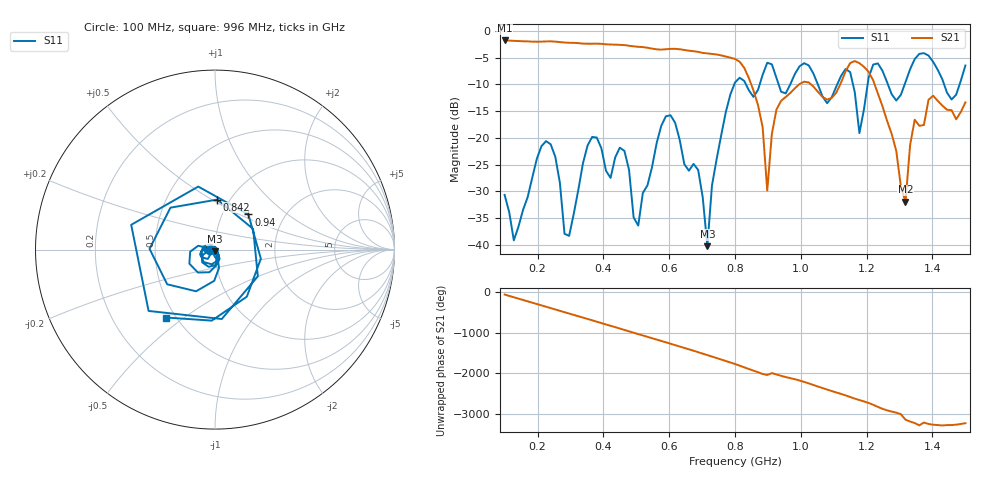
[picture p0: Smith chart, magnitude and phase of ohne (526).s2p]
! NanoVNA-App
! Date: 2025-09-25 14:24:53
! Start: 100MHz Stop: 1,5GHz Points: 101
! S-Parameter data: F S11 S21 S12 S22
# Hz S RI R 50
!  Frequency  S11_Real  S11_Imag  S21_Real  S21_Imag  S12_Real  S12_Imag  S22_Real  S22_Imag
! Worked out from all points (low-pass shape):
!   101 points, 100 MHz to 1.5 GHz, reference 50 ohm
!   highest |S21| = -1.79 dB at 100 MHz (marker M1); lowest = -31.9 dB at 1.318 GHz (marker M2)
!   |S21| within 3 dB of the highest: start of sweep to 772 MHz
!   lowest |S11| = -40.2 dB at 716 MHz (marker M3), VSWR 1.02, Z = 49.8 - j0.96 ohm
!   |S11| at or under -10 dB: start of sweep to 797.8 MHz; 833.2 MHz to 875.1 MHz (41.82 MHz wide, 4.9 % of centre); 1.052 GHz to 1.111 GHz (58.99 MHz wide, 5.46 % of centre) (the widest 3 of 7)
!   S12 and S22 are empty: the file has one direction only
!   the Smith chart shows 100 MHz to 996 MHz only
!   S11 on the Smith chart (normalised r, x): 100 MHz: 0.94, -0.01; 842 MHz: 0.88, +0.53; 940 MHz: 1.32, +0.56; 996 MHz: 0.44, -0.43
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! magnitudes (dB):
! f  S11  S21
! 100 MHz  -30.6  -1.8
! 128 MHz  -39.1  -1.9
! 226 MHz  -20.6  -2.0
! 296 MHz  -38.3  -2.2
! 338 MHz  -24.8  -2.4
! 464 MHz  -22.4  -2.7
! 506 MHz  -36.4  -3.0
! 576 MHz  -17.7  -3.5
! 688 MHz  -26.0  -3.9
! 716 MHz  -40.2  -4.2
! 800 MHz  -9.7  -5.3
! 842 MHz  -11.1  -8.8
! 898 MHz  -6.0  -29.8
! 940 MHz  -11.4  -13.1
! 996 MHz  -6.6  -9.9
! 1.038 GHz  -7.9  -10.4
! 1.178 GHz  -19.1  -6.0
! 1.22 GHz  -6.3  -9.3
! 1.276 GHz  -11.8  -19.2
! 1.318 GHz  -9.6  -31.9
! 1.346 GHz  -5.3  -16.6
! 1.5 GHz  -6.5  -13.4
